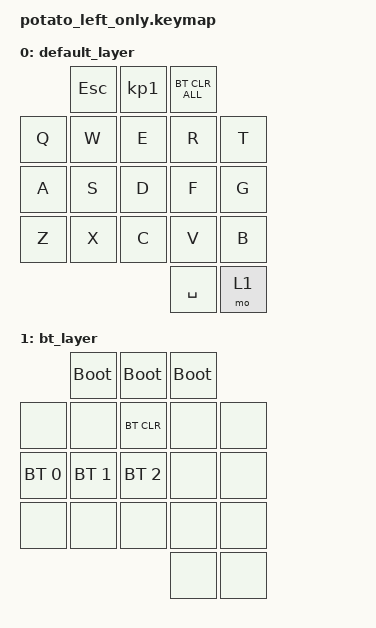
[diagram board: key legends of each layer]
#include <behaviors.dtsi>
#include <dt-bindings/zmk/keys.h>
#include <dt-bindings/zmk/bt.h>

/ {
    keymap {
        compatible = "zmk,keymap";

        default_layer {
            bindings = <
                            &kp ESC     &kp KP_N1   &bt BT_CLR_ALL
                &kp Q       &kp W       &kp E       &kp R       &kp T
                &kp A       &kp S       &kp D       &kp F       &kp G
                &kp Z       &kp X       &kp C       &kp V       &kp B
                                                    &kp SPACE   &mo 1
            >;
        };

        bt_layer {
            bindings = <
                                &bootloader     &bootloader     &bootloader
                &none           &none           &bt BT_CLR      &none           &none
                &bt BT_SEL 0    &bt BT_SEL 1    &bt BT_SEL 2    &none           &none
                &none           &none           &none           &none           &none
                                                                &none           &none
            >;
        };
    };
};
